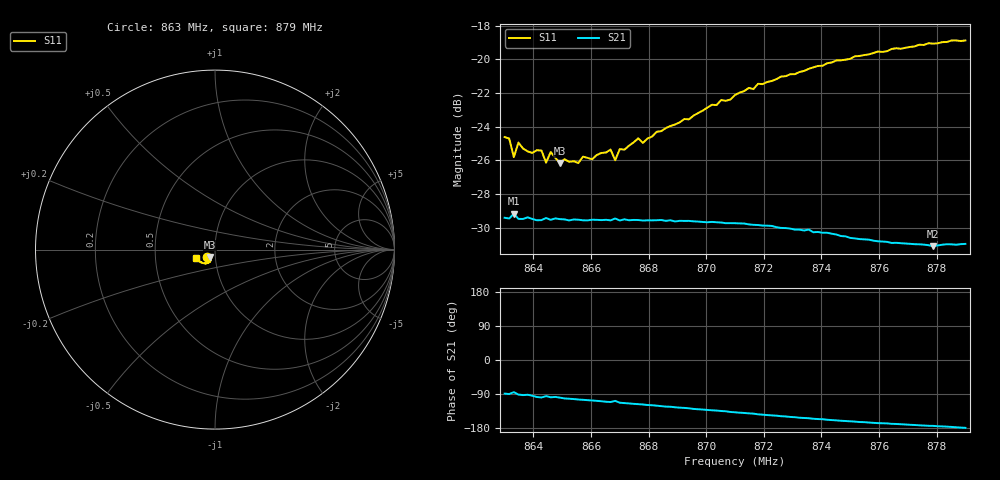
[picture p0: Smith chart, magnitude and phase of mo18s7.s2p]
# HZ S RI R 50
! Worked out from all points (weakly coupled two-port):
!   101 points, 863 MHz to 879 MHz, reference 50 ohm
!   highest |S21| = -29.17 dB at 863.32 MHz (marker M1); lowest = -31.1 dB at 877.88 MHz (marker M2)
!   lowest |S11| = -26.2 dB at 864.92 MHz (marker M3), VSWR 1.10, Z = 47.2 - j3.86 ohm
!   |S11| at or under -10 dB: start of sweep to end of sweep
!   S12 and S22 are empty: the file has one direction only
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8.63e8  -0.0436 -0.0395  0.000774 -0.0338  0 0  0 0
8.6316e8  -0.0435 -0.0386  5.3e-05 -0.0337  0 0  0 0
8.6332e8  -0.0326 -0.0396  0.00318 -0.0347  0 0  0 0
8.6348e8  -0.0431 -0.0367  -0.000771 -0.0336  0 0  0 0
8.6396e8  -0.0376 -0.037  -0.00255 -0.0335  0 0  0 0
8.6428e8  -0.0361 -0.0396  -0.00513 -0.0329  0 0  0 0
8.6444e8  -0.031 -0.0384  -0.00314 -0.0336  0 0  0 0
8.646e8  -0.0352 -0.0398  -0.00483 -0.033  0 0  0 0
8.6492e8  -0.0275 -0.0408  -0.00541 -0.0331  0 0  0 0
8.6556e8  -0.0282 -0.0403  -0.00826 -0.0324  0 0  0 0
8.6572e8  -0.0278 -0.0432  -0.00862 -0.0321  0 0  0 0
8.6604e8  -0.0259 -0.0433  -0.00967 -0.032  0 0  0 0
8.6668e8  -0.0256 -0.0475  -0.0118 -0.0311  0 0  0 0
8.6684e8  -0.0202 -0.0459  -0.0103 -0.0321  0 0  0 0
8.67e8  -0.0247 -0.0482  -0.0129 -0.0306  0 0  0 0
8.678e8  -0.0231 -0.0515  -0.0153 -0.0295  0 0  0 0
8.6844e8  -0.0242 -0.0563  -0.0176 -0.0283  0 0  0 0
8.71e8  -0.0335 -0.0709  -0.0243 -0.0218  0 0  0 0
8.7372e8  -0.0544 -0.0776  -0.0278 -0.0129  0 0  0 0
8.7644e8  -0.0819 -0.0696  -0.0279 -0.00571  0 0  0 0
8.7788e8  -0.0954 -0.0576  -0.0277 -0.003  0 0  0 0
8.79e8  -0.1034 -0.0477  -0.0283 -0.000486  0 0  0 0
